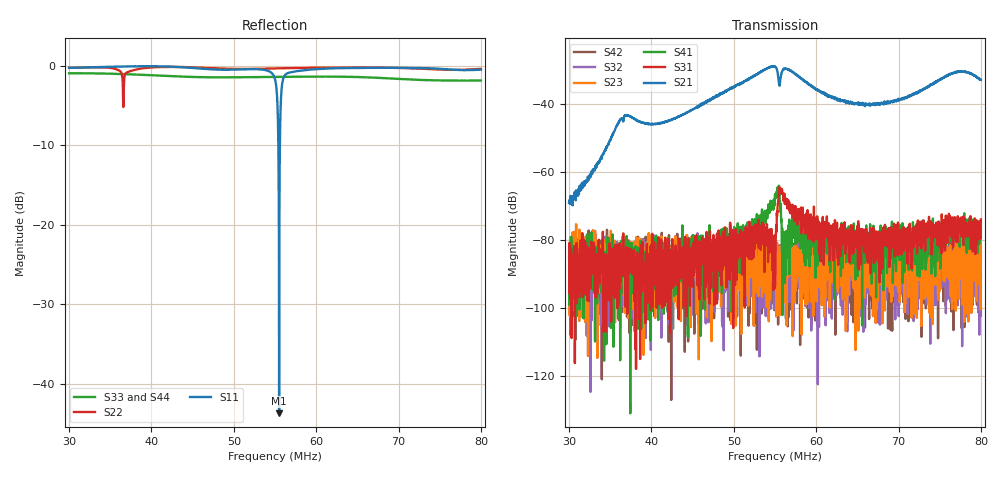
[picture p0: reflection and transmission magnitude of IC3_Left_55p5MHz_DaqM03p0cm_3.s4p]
#  HZ  S  DB  R  50.00
! Rohde & Schwarz Vector Network Analyzer
! Rohde-Schwarz,ZNB8-4Port,1311601044102961,2.82
! Created: UTC 2/13/2019, 9:05:25 AM
! freq[Hz]  db:S11  ang:S11  db:S12  ang:S12  db:S13  ang:S13  db:S14  ang:S14
!  db:S21  ang:S21  db:S22  ang:S22  db:S23  ang:S23  db:S24  ang:S24
!  db:S31  ang:S31  db:S32  ang:S32  db:S33  ang:S33  db:S34  ang:S34
!  db:S41  ang:S41  db:S42  ang:S42  db:S43  ang:S43  db:S44  ang:S44
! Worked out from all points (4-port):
!   2001 points, 30 MHz to 80 MHz, reference 50 ohm
!   strongest paths, dB at 30 MHz, 42.5 MHz, 55 MHz, 67.5 MHz, 80 MHz:
!     S21: -69.2, -44.6, -29.1, -39.9, -33.0
!     S31: -85.3, -88.5, -94.1, -83.7, -74.0
!     S41: -99.0, -93.8, -66.7, -78.6, -77.1
!     S23: -88.0, -92.2, -81.3, -83.8, -84.9
!     S32: -95.7, -87.5, -80.7, -95.8, -102.3
!     S42: -82.4, -85.3, -88.6, -88.4, -90.6
!   lowest |S11| = -43.7 dB at 55.5 MHz (marker M1), VSWR 1.01, Z = 50.3 + j0.569 ohm
!   |S11| at or under -10 dB: 55.40585 MHz to 55.59258 MHz (186.7 kHz wide, 0.336 % of centre)
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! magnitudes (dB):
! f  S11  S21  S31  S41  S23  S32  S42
! 30 MHz  -0.2  -69.2  -85.3  -99.0  -88.0  -95.7  -82.4
! 36.9 MHz  -0.1  -43.4  -87.5  -86.7  -87.2  -79.3  -89.8
! 54.85 MHz  -1.2  -29.1  -80.0  -68.2  -89.6  -83.9  -86.5
! 55.5 MHz  -43.7  -34.3  -65.3  -65.9  -87.8  -89.1  -81.6
! 56.15 MHz  -1.2  -29.8  -67.4  -77.8  -82.2  -84.6  -94.0
! 61.6 MHz  -0.3  -37.5  -82.0  -78.6  -80.6  -101.5  -83.0
! 80 MHz  -0.5  -33.0  -74.0  -77.1  -84.9  -102.3  -90.6
